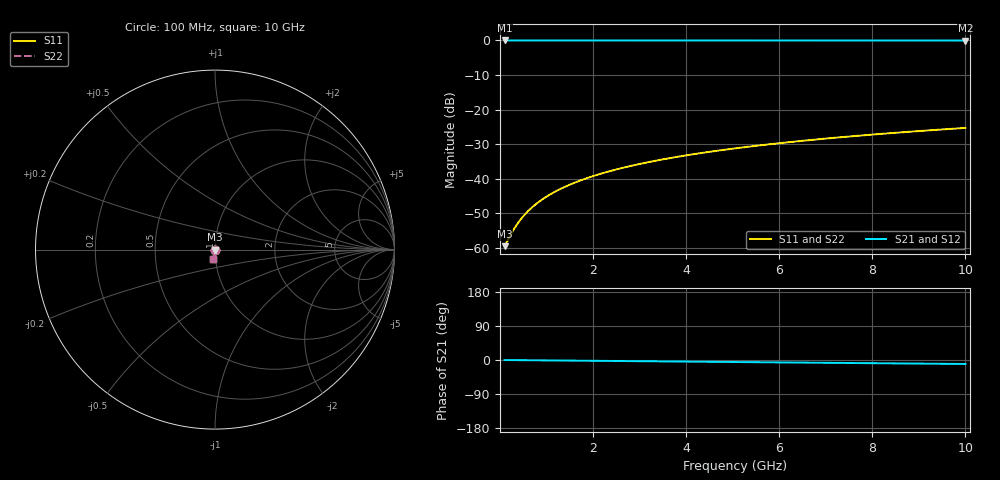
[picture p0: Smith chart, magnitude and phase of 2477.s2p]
# Hz S RI R 50.00
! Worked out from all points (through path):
!   100 points, 100 MHz to 10 GHz, reference 50 ohm
!   highest |S21| = -0.01 dB at 100 MHz (marker M1); lowest = 0.0 dB at 10 GHz (marker M2)
!   group delay of S21, straight-line fit = 2.93 ps
!   lowest |S11| = -59.5 dB at 100 MHz (marker M3), VSWR 1.00, Z = 50.1 - j0.0548 ohm
!   |S11| at or under -10 dB: start of sweep to end of sweep
!   |S22| runs from -59.5 to -25.3 dB; largest |S21 - S12| = 0
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1e8  0.000914 -0.000547  0.9991 -0.00183  0.9991 -0.00183  0.000914 -0.000547
2e8  0.000916 -0.00109  0.9991 -0.00367  0.9991 -0.00367  0.000916 -0.00109
3e8  0.000914 -0.00164  0.9991 -0.0055  0.9991 -0.0055  0.000914 -0.00164
4e8  0.00091 -0.00219  0.999 -0.00734  0.999 -0.00734  0.00091 -0.00219
5e8  0.000903 -0.00274  0.999 -0.00917  0.999 -0.00917  0.000903 -0.00274
6e8  0.000893 -0.00328  0.999 -0.011  0.999 -0.011  0.000893 -0.00328
7e8  0.000882 -0.00383  0.999 -0.0128  0.999 -0.0128  0.000882 -0.00383
9e8  0.000852 -0.00492  0.9989 -0.0165  0.9989 -0.0165  0.000852 -0.00492
1e9  0.000834 -0.00547  0.9989 -0.0183  0.9989 -0.0183  0.000834 -0.00547
1.2e9  0.000791 -0.00656  0.9988 -0.022  0.9988 -0.022  0.000791 -0.00656
1.5e9  0.000712 -0.00821  0.9986 -0.0275  0.9986 -0.0275  0.000712 -0.00821
1.8e9  0.000614 -0.00984  0.9984 -0.033  0.9984 -0.033  0.000614 -0.00984
2.1e9  0.000497 -0.0115  0.9982 -0.0385  0.9982 -0.0385  0.000497 -0.0115
2.5e9  0.000313 -0.0137  0.9979 -0.0459  0.9979 -0.0459  0.000313 -0.0137
2.9e9  9.71e-05 -0.0158  0.9974 -0.0532  0.9974 -0.0532  9.71e-05 -0.0158
3.4e9  -0.000218 -0.0186  0.9969 -0.0624  0.9969 -0.0624  -0.000218 -0.0186
4.2e9  -0.000828 -0.0229  0.9957 -0.077  0.9957 -0.077  -0.000828 -0.0229
5.1e9  -0.00167 -0.0278  0.9942 -0.0935  0.9942 -0.0935  -0.00167 -0.0278
5.9e9  -0.00255 -0.0321  0.9925 -0.1081  0.9925 -0.1081  -0.00255 -0.0321
6.7e9  -0.00355 -0.0364  0.9907 -0.1226  0.9907 -0.1226  -0.00355 -0.0364
8.4e9  -0.00611 -0.0454  0.9859 -0.1535  0.9859 -0.1535  -0.00611 -0.0454
1e10  -0.00903 -0.0537  0.9805 -0.1824  0.9805 -0.1824  -0.00903 -0.0537
